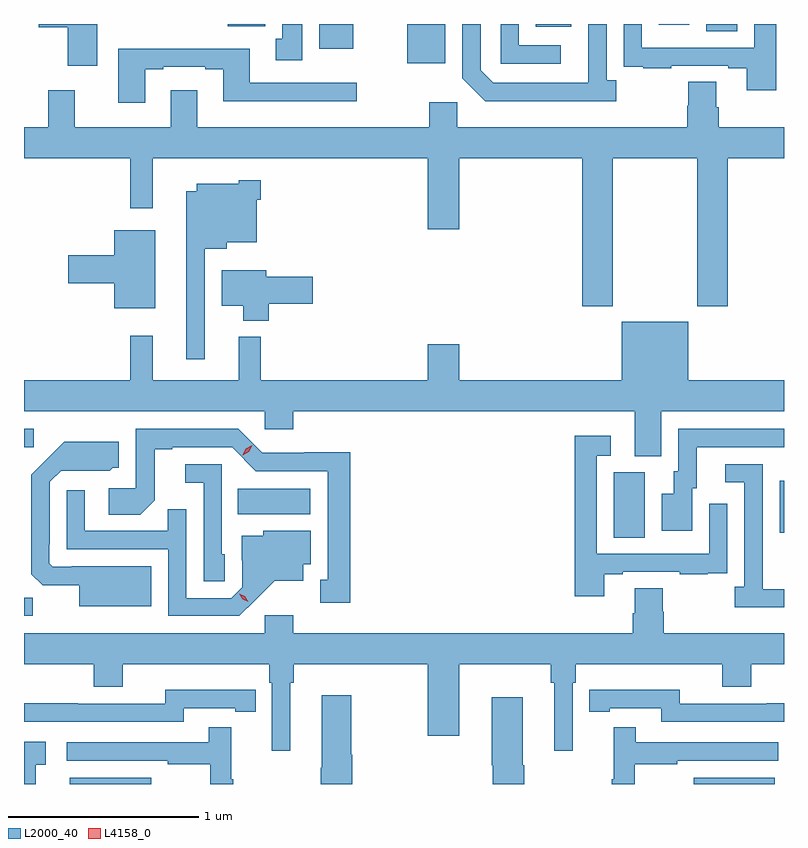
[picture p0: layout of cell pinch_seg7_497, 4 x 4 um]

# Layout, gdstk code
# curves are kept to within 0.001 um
import gdstk
lib = gdstk.Library(unit=1e-6, precision=1e-09)
def R(c, l, rs):  # rectangles x0, y0, x1, y1
    for r in rs: c.add(gdstk.rectangle(r[:2], r[2:], *l))
def P(c, l, *ps):  # polygons
    for p in ps: c.add(gdstk.Polygon(p, *l))
L2000_40 = (2000, 40)
L4158_0 = (4158, 0)

pinch_seg7_497 = lib.new_cell('pinch_seg7_497')
R(pinch_seg7_497, L2000_40, [(127.16,1073.247,127.588,1073.281), (130.443,1073.247,130.87,1073.281), (126.918,1074.132,126.963,1074.227), (130.022,1074.544,130.186,1074.888), (130.895,1074.569,130.918,1074.844), (128.044,1074.668,128.425,1074.802), (126.918,1075.02,126.97,1075.116), (128.936,1077.041,129.136,1077.247), (128.471,1077.116,128.65,1077.247), (130.508,1077.208,130.672,1077.247), (129.611,1077.233,129.799,1077.247), (127.991,1077.236,128.188,1077.247), (130.259,1077.243,130.42,1077.247)])
P(pinch_seg7_497, L2000_40, [(129.742,1077.135),(129.522,1077.135),(129.522,1077.247),(129.426,1077.247),(129.426,1077.039),(129.742,1077.039)],
  [(130.877,1077.247),(130.761,1077.247),(130.761,1077.123),(130.17,1077.123),(130.17,1077.247),(130.074,1077.247),(130.074,1077.13),(130.075,1077.13),(130.075,1077.021),(130.177,1077.021),(130.177,1077.015),(130.325,1077.015),(130.325,1077.027),(130.625,1077.027),(130.625,1077.015),(130.721,1077.015),(130.721,1076.898),(130.877,1076.898)],
  [(127.303,1077.247),(126.996,1077.247),(126.996,1077.231),(127.148,1077.231),(127.148,1077.027),(127.303,1077.027)],
  [(128.383,1077.247),(128.276,1077.247),(128.276,1077.17),(128.243,1077.17),(128.243,1077.057),(128.383,1077.057)],
  [(130.036,1076.95),(129.984,1076.95),(129.984,1077.247),(129.888,1077.247),(129.887,1076.937),(129.387,1076.937),(129.321,1077.003),(129.321,1077.247),(129.225,1077.247),(129.225,1076.961),(129.346,1076.84),(130.036,1076.84)],
  [(127.555,1077.009),(127.651,1077.009),(127.651,1077.021),(127.871,1077.021),(127.871,1077.009),(127.967,1077.009),(127.967,1076.84),(128.668,1076.84),(128.668,1076.937),(128.107,1076.937),(128.107,1077.118),(127.415,1077.118),(127.415,1076.832),(127.555,1076.832)],
  [(130.017,1076.54),(130.462,1076.54),(130.462,1075.761),(130.622,1075.761),(130.622,1076.54),(130.918,1076.54),(130.918,1076.704),(130.574,1076.704),(130.574,1076.81),(130.561,1076.81),(130.561,1076.942),(130.414,1076.942),(130.414,1076.817),(130.409,1076.817),(130.409,1076.704),(129.198,1076.704),(129.198,1076.836),(129.052,1076.836),(129.052,1076.704),(127.831,1076.704),(127.831,1076.899),(127.691,1076.899),(127.691,1076.704),(127.186,1076.704),(127.186,1076.899),(127.046,1076.899),(127.046,1076.704),(126.918,1076.704),(126.918,1076.54),(127.477,1076.54),(127.477,1076.277),(127.596,1076.277),(127.596,1076.54),(129.044,1076.54),(129.044,1076.166),(129.208,1076.166),(129.208,1076.54),(129.857,1076.54),(129.857,1075.761),(130.017,1075.761)],
  [(127.869,1076.063),(127.984,1076.063),(127.984,1076.099),(128.143,1076.099),(128.143,1076.321),(128.165,1076.321),(128.165,1076.425),(128.049,1076.425),(128.049,1076.407),(127.826,1076.407),(127.826,1076.368),(127.772,1076.368),(127.772,1075.482),(127.869,1075.482)],
  [(127.609,1076.161),(127.394,1076.161),(127.394,1076.03),(127.152,1076.03),(127.152,1075.883),(127.394,1075.883),(127.394,1075.751),(127.609,1075.751)],
  [(128.207,1075.774),(128.437,1075.774),(128.437,1075.916),(128.194,1075.916),(128.194,1075.951),(127.958,1075.951),(127.958,1075.763),(128.072,1075.763),(128.072,1075.685),(128.207,1075.685)],
  [(130.273,1075.208),(130.918,1075.208),(130.918,1075.372),(130.414,1075.372),(130.414,1075.681),(130.064,1075.681),(130.064,1075.372),(129.208,1075.372),(129.208,1075.561),(129.044,1075.561),(129.044,1075.372),(128.165,1075.372),(128.165,1075.6),(128.048,1075.6),(128.048,1075.372),(127.595,1075.372),(127.595,1075.606),(127.477,1075.606),(127.477,1075.372),(126.918,1075.372),(126.918,1075.208),(128.184,1075.208),(128.184,1075.115),(128.336,1075.115),(128.336,1075.208),(130.133,1075.208),(130.133,1074.973),(130.273,1074.973)],
  [(130.435,1074.804),(130.459,1074.804),(130.459,1075.02),(130.918,1075.02),(130.918,1075.116),(130.362,1075.116),(130.362,1074.894),(130.337,1074.894),(130.337,1074.775),(130.274,1074.775),(130.274,1074.579),(130.435,1074.579)],
  [(128.635,1074.992),(128.394,1074.992),(128.394,1074.99),(128.172,1074.99),(128.046,1075.116),(127.506,1075.116),(127.506,1074.804),(127.365,1074.804),(127.365,1074.664),(127.529,1074.664),(127.605,1074.74),(127.605,1075.008),(127.699,1075.008),(127.699,1075.02),(128.013,1075.02),(128.139,1074.894),(128.516,1074.894),(128.516,1074.321),(128.477,1074.321),(128.477,1074.201),(128.635,1074.201)],
  [(129.973,1074.351),(130.069,1074.351),(130.069,1074.363),(130.369,1074.363),(130.369,1074.351),(130.517,1074.351),(130.517,1074.357),(130.619,1074.357),(130.619,1074.466),(130.62,1074.466),(130.62,1074.721),(130.524,1074.721),(130.524,1074.459),(129.933,1074.459),(129.933,1074.975),(130.006,1074.975),(130.006,1075.081),(129.817,1075.081),(129.817,1074.234),(129.973,1074.234)],
  [(127.588,1074.394),(127.168,1074.394),(127.168,1074.39),(127.068,1074.39),(127.05,1074.408),(127.05,1074.508),(127.053,1074.508),(127.053,1074.837),(127.113,1074.897),(127.37,1074.896),(127.386,1074.912),(127.417,1074.912),(127.417,1075.048),(127.129,1075.048),(126.957,1074.874),(126.957,1074.352),(127.016,1074.293),(127.208,1074.293),(127.208,1074.182),(127.588,1074.182)],
  [(127.974,1074.456),(127.959,1074.456),(127.959,1074.93),(127.767,1074.93),(127.767,1074.833),(127.863,1074.833),(127.863,1074.313),(127.974,1074.313)],
  [(130.918,1074.273),(130.807,1074.273),(130.807,1074.473),(130.806,1074.473),(130.806,1074.93),(130.608,1074.93),(130.608,1074.834),(130.71,1074.834),(130.71,1074.286),(130.659,1074.286),(130.659,1074.176),(130.918,1074.176)],
  [(128.134,1074.215),(128.237,1074.317),(128.389,1074.317),(128.389,1074.404),(128.428,1074.404),(128.428,1074.58),(128.178,1074.58),(128.178,1074.553),(128.063,1074.553),(128.063,1074.424),(128.067,1074.424),(128.067,1074.282),(128.01,1074.225),(127.773,1074.225),(127.773,1074.692),(127.675,1074.692),(127.675,1074.579),(127.239,1074.579),(127.239,1074.793),(127.143,1074.793),(127.143,1074.483),(127.677,1074.483),(127.677,1074.132),(128.05,1074.132)],
  [(128.336,1074.136),(128.184,1074.136),(128.184,1074.04),(126.918,1074.04),(126.918,1073.876),(127.286,1073.876),(127.286,1073.759),(127.438,1073.759),(127.438,1073.876),(128.21,1073.876),(128.21,1073.78),(128.223,1073.78),(128.223,1073.421),(128.32,1073.421),(128.32,1073.78),(128.339,1073.78),(128.339,1073.876),(129.044,1073.876),(129.044,1073.502),(129.208,1073.502),(129.208,1073.876),(129.691,1073.876),(129.691,1073.78),(129.71,1073.78),(129.71,1073.421),(129.807,1073.421),(129.807,1073.78),(129.821,1073.78),(129.821,1073.876),(130.592,1073.876),(130.592,1073.759),(130.745,1073.759),(130.745,1073.876),(130.918,1073.876),(130.918,1074.04),(130.286,1074.04),(130.286,1074.153),(130.281,1074.153),(130.281,1074.278),(130.133,1074.278),(130.133,1074.146),(130.121,1074.146),(130.121,1074.04),(128.336,1074.04)],
  [(127.758,1073.646),(128.03,1073.646),(128.03,1073.626),(128.138,1073.626),(128.138,1073.742),(128.03,1073.742),(128.03,1073.743),(127.662,1073.743),(127.662,1073.67),(127.202,1073.67),(127.202,1073.672),(126.918,1073.672),(126.918,1073.574),(127.758,1073.574)],
  [(130.918,1073.672),(130.828,1073.672),(130.828,1073.67),(130.368,1073.67),(130.368,1073.743),(130,1073.743),(130,1073.742),(129.892,1073.742),(129.892,1073.626),(130,1073.626),(130,1073.646),(130.272,1073.646),(130.272,1073.574),(130.918,1073.574)],
  [(128.645,1073.4),(128.64,1073.4),(128.64,1073.713),(128.486,1073.713),(128.486,1073.333),(128.479,1073.333),(128.479,1073.247),(128.645,1073.247)],
  [(129.552,1073.346),(129.544,1073.346),(129.544,1073.704),(129.38,1073.704),(129.38,1073.346),(129.386,1073.346),(129.386,1073.247),(129.552,1073.247)],
  [(128.02,1073.273),(128.009,1073.273),(128.009,1073.545),(127.891,1073.545),(127.891,1073.466),(127.143,1073.466),(127.143,1073.37),(127.675,1073.37),(127.675,1073.35),(127.899,1073.35),(127.899,1073.247),(128.02,1073.247)],
  [(130.132,1073.35),(130.355,1073.35),(130.355,1073.37),(130.888,1073.37),(130.888,1073.466),(130.139,1073.466),(130.139,1073.545),(130.022,1073.545),(130.022,1073.273),(130.011,1073.273),(130.011,1073.247),(130.132,1073.247)],
  [(126.98,1073.349),(127.033,1073.349),(127.033,1073.47),(126.918,1073.47),(126.918,1073.247),(126.98,1073.247)])
P(pinch_seg7_497, L4158_0, [(128.069,1074.978),(128.069,1074.978),(128.086,1075.011),(128.118,1075.03),(128.118,1075.03),(128.118,1075.029),(128.101,1074.997),(128.069,1074.978)],
  [(128.099,1074.205),(128.068,1074.219),(128.05,1074.249),(128.05,1074.249),(128.05,1074.249),(128.081,1074.234),(128.099,1074.205),(128.099,1074.205)])

lib.write_gds('pinch_seg7_497.gds')
